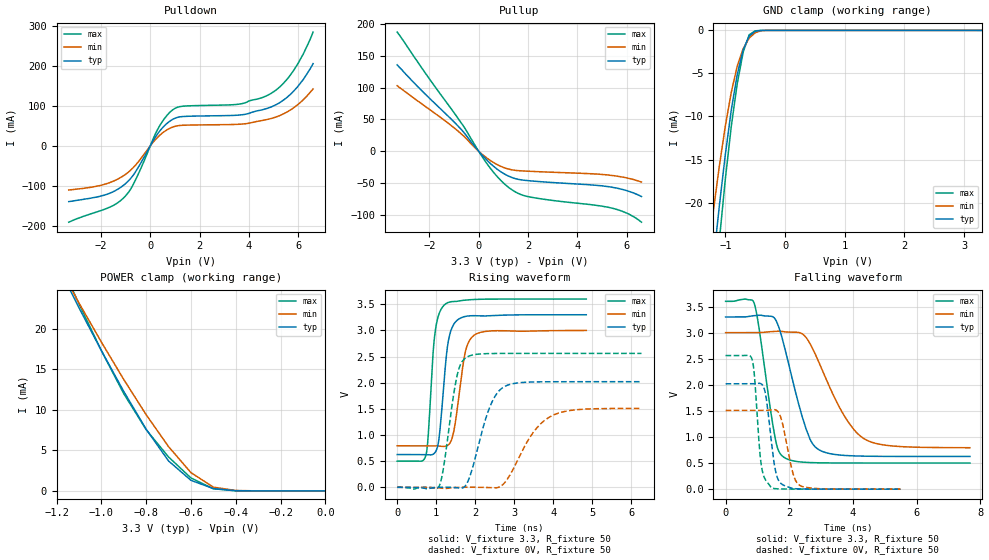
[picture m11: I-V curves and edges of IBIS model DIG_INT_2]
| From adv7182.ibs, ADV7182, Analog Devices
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[Model] DIG_INT_2
Model_type I/O
Vinl = 1.41V
Vinh = 1.64V
C_comp 1.964205pF 1.887632pF 2.012697pF
Vmeas = 1.50V
Cref = 10pF
[Model Spec]
| Subparameter   typ   min   max
| Thresholds
Vinh   1.51V   1.41V   1.64V
Vinl   1.51V   1.41V   1.64V
| Overshoot
S_overshoot_high   3.60V   3.30V   3.90V
S_overshoot_low   -0.30V   NA   NA
| Timing spec related
Vmeas   1.50V   1.45V   1.55V
Cref   10pF   NA   NA
| variable   typ   min   max
[Temperature Range]   55   125   -20
[Voltage Range]   3.30V   3.00V   3.60V
[Pulldown Reference]   0V   0V   0V
[Pullup Reference]   3.30V   3.00V   3.60V
[GND Clamp Reference]   0V   0V   0V
[POWER Clamp Reference]  3.30V   3.00V   3.60V
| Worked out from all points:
|   slope of the pulldown table from 0 to 0.495 V, typ, clamps not added: 11 ohm
|   slope of the pullup table from 0 to 0.495 V, typ, clamps not added: 24.7 ohm
|   GND clamp passes 1 mA (typ) near -0.62 V on its own axis
|   POWER clamp passes 1 mA (typ) near -0.57 V on its own axis
|   falling waveform, V_fixture 3.3, R_fixture 50: 20-80 % time 691ps typ, 1.07ns min, 438ps max; typ from 3.3 V to 0.626 V
|   falling waveform, V_fixture 0V, R_fixture 50: 20-80 % time 244ps typ, 310ps min, 187ps max; typ from 2.02 V to 0 V
|   rising waveform, V_fixture 3.3, R_fixture 50: 20-80 % time 199ps typ, 248ps min, 167ps max; typ from 0.626 V to 3.3 V
|   rising waveform, V_fixture 0V, R_fixture 50: 20-80 % time 476ps typ, 728ps min, 294ps max; typ from 0 V to 2.02 V
[Pulldown]
| Note: Vtable = Vpin
| Voltage   I(typ)   I(min)   I(max)
-3.3V     -138.6mA   -109.6mA   -189.8mA
-1.8V     -121.3mA   -94.52mA   -156.6mA
-1V       -93.73mA   -70.63mA   -124.4mA
-600mV    -64.86mA   -48.04mA   -85.24mA
300mV     30.23mA    21.78mA    41.2mA
900mV     66.05mA    46.91mA    89.59mA
1.3V      73.33mA    51.64mA    99.04mA
3.6V      77.12mA    54.2mA     104.3mA
4.8V      94.99mA    66.97mA    127.7mA
5.7V      129.7mA    90.55mA    178.6mA
6.2V      165.4mA    115.4mA    228.8mA
6.6V      205.3mA    142.1mA    283.9mA
[Pullup]
| Note: Vtable = VCC - Vpin
| Voltage   I(typ)   I(min)   I(max)
-3.3V     135.8mA    103mA      187.4mA
-2.5V     102.9mA    79.89mA    142.2mA
-1V       46.14mA    36.94mA    60.77mA
-600mV    29.58mA    23.56mA    38.7mA
300mV     -12.78mA   -9.77mA    -17.57mA
800mV     -29.71mA   -22.05mA   -41.96mA
1.2V      -38.98mA   -28.03mA   -56.52mA
1.6V      -44.28mA   -30.59mA   -66.37mA
2V        -46.35mA   -31.5mA    -71.46mA
5.5V      -57.42mA   -38.63mA   -90.53mA
6.1V      -63.34mA   -42.97mA   -99.22mA
6.6V      -71.4mA    -48.62mA   -111.7mA
[GND Clamp]
| Note: Vtable = Vpin
| Voltage   I(typ)   I(min)   I(max)
-3.3V     -214.5mA   -182.2mA   -244.5mA
-1.3V     -33.85mA   -26.47mA   -40.26mA
-1.2V     -26.89mA   -20.95mA   -32.07mA
-1.1V     -20.37mA   -15.76mA   -24.38mA
-1V       -14.44mA   -11.11mA   -17.29mA
-900mV    -9.227mA   -7.189mA   -11.14mA
-800mV    -5.119mA   -4.131mA   -6.171mA
-700mV    -2.235mA   -2.117mA   -2.494mA
-600mV    -646.9uA   -893.9uA   -515.4uA
-500mV    -104.9uA   -270.1uA   -54.7uA
-300mV    -886.1nA   -3.748uA   -150nA
3.3V      389.1pA    5.388uA    62.55pA
[Power Clamp]
| Note: Vtable = VCC - Vpin
| Voltage   I(typ)   I(min)   I(max)
-3.3V     180.3mA    166.5mA    204.1mA
-1.2V     28.12mA    28.24mA    29.18mA
-1.1V     22.63mA    23.22mA    23.11mA
-1V       17.33mA    18.39mA    17.33mA
-900mV    12.29mA    13.77mA    12.02mA
-800mV    7.625mA    9.418mA    7.572mA
-700mV    3.706mA    5.475mA    4.196mA
-600mV    1.311mA    2.262mA    1.604mA
-500mV    290.7uA    467.2uA    269.1uA
-400mV    28.65uA    53.04uA    13.21uA
0V        389.1pA    2.856nA    80.85pA
[Ramp]
| Variable   typ   min   max
dV/dt_r   1.21V/476.5084ps   0.91V/727.7915ps   1.54V/293.9978ps
dV/dt_f   1.60V/691.891ps   1.31V/1.146475ns   1.85V/431.891ps
R_load =  50
[Falling Waveform]
V_fixture =  3.3
R_fixture =  50
V_fixture_max =  3.6
V_fixture_min =  3
| R_dut = 0.23Ohm
| L_dut = 6.2nH
| C_dut = 1.05pF
| Time   V(typ)   V(min)   V(max)
0s        3.3V       3V         3.6V
898.6ps   3.326V     3V         3.561V
1.043ns   3.333V     3V         3.118V
1.562ns   3.257V     3.024V     962.8mV
1.843ns   2.741V     3.016V     606.5mV
2.528ns   1.154V     2.906V     513.6mV
2.938ns   753.2mV    2.42V      505.2mV
3.687ns   648.7mV    1.447V     501.6mV
4.36ns    632.2mV    962.5mV    501.1mV
7.673ns   626.4mV    794.3mV    500.8mV
[Falling Waveform]
V_fixture = 0V
R_fixture =  50
| R_dut = 0.23Ohm
| L_dut = 6.2nH
| C_dut = 1.05pF
| Time   V(typ)   V(min)   V(max)
0s        2.02V      1.509V     2.561V
828.3ps   2.019V     1.509V     2.495V
903.4ps   2.021V     1.509V     2.191V
1.122ns   2.017V     1.509V     455.5mV
1.258ns   1.81V      1.51V      173mV
1.438ns   913.8mV    1.521V     30.36mV
1.68ns    150.3mV    1.452V     5.325mV
2.122ns   12.56mV    290.4mV    1.29mV
2.33ns    4.806mV    72.46mV    711.7uV
5.498ns   8.222uV    114.7uV    1.406uV
[Rising Waveform]
V_fixture =  3.3
R_fixture =  50
V_fixture_max =  3.6
V_fixture_min =  3
| R_dut = 0.23Ohm
| L_dut = 6.2nH
| C_dut = 1.05pF
| Time   V(typ)   V(min)   V(max)
0s        626.3mV    793.3mV    500.8mV
734.6ps   624.9mV    793.7mV    610.8mV
793ps     621.8mV    793.8mV    965.9mV
968.2ps   663.1mV    793mV      2.946V
1.081ns   992.7mV    787.8mV    3.334V
1.23ns    2.282V     783mV      3.502V
1.433ns   3.097V     1.013V     3.553V
1.734ns   3.266V     2.55V      3.579V
1.96ns    3.282V     2.903V     3.592V
4.843ns   3.3V       3V         3.6V
[Rising Waveform]
| R_dut = 0.23Ohm
| L_dut = 6.2nH
| C_dut = 1.05pF
V_fixture = 0V
R_fixture =  50
| R_dut = 0.23Ohm
| L_dut = 6.2nH
| C_dut = 1.05pF
| Time   V(typ)   V(min)   V(max)
0s        -3.334uV   28.67uV    183.8uV
1.068ns   190uV      -11.11mV   11.99mV
1.192ns   1.537mV    -21.76mV   395.7mV
1.524ns   -8.691mV   -928.2uV   2.102V
1.795ns   88.37mV    990.7uV    2.494V
2.365ns   1.52V      -7.51mV    2.558V
2.732ns   1.919V     70.33mV    2.561V
3.441ns   2.014V     1.003V     2.561V
3.945ns   2.019V     1.361V     2.561V
6.257ns   2.02V      1.509V     2.561V
